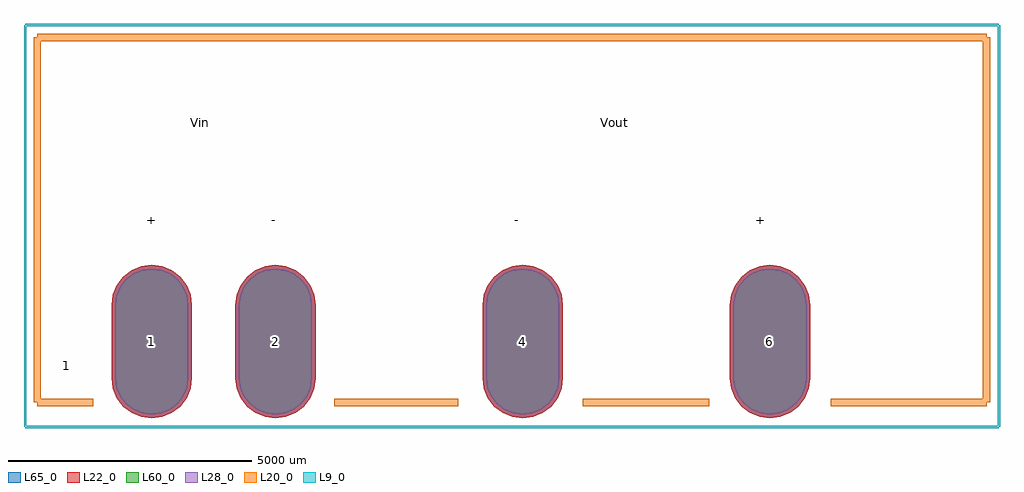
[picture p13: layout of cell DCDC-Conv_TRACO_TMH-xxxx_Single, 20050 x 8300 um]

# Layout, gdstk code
import gdstk
lib = gdstk.Library(unit=1e-6, precision=1e-09)
def P(c, l, *ps):  # polygons
    for p in ps: c.add(gdstk.Polygon(p, *l))
L9_0 = (9, 0)
L20_0 = (20, 0)
L22_0 = (22, 0)
L28_0 = (28, 0)
L60_0 = (60, 0)
L65_0 = (65, 0)

dcdc_conv_traco_tmh_xxxx = lib.new_cell('DCDC-Conv_TRACO_TMH-xxxx_Single')
P(dcdc_conv_traco_tmh_xxxx, L22_0, [(12700,-1574.87),(12913.673,-1546.739),(13112.785,-1464.265),(13283.766,-1333.066),(13414.965,-1162.085),(13497.439,-962.973),(13525.57,-749.3),(13525.57,749.3),(13497.439,962.973),(13414.965,1162.085),(13283.766,1333.066),(13112.785,1464.265),(12913.673,1546.739),(12700,1574.87),(12486.327,1546.739),(12287.215,1464.265),(12116.234,1333.066),(11985.035,1162.085),(11902.561,962.973),(11874.43,749.3),(11874.43,-749.3),(11902.561,-962.973),(11985.035,-1162.085),(12116.234,-1333.066),(12287.215,-1464.265),(12486.327,-1546.739)],
  [(7620,-1574.87),(7833.673,-1546.739),(8032.785,-1464.265),(8203.766,-1333.066),(8334.965,-1162.085),(8417.439,-962.973),(8445.57,-749.3),(8445.57,749.3),(8417.439,962.973),(8334.965,1162.085),(8203.766,1333.066),(8032.785,1464.265),(7833.673,1546.739),(7620,1574.87),(7406.327,1546.739),(7207.215,1464.265),(7036.234,1333.066),(6905.035,1162.085),(6822.561,962.973),(6794.43,749.3),(6794.43,-749.3),(6822.561,-962.973),(6905.035,-1162.085),(7036.234,-1333.066),(7207.215,-1464.265),(7406.327,-1546.739)],
  [(2540,-1574.87),(2753.673,-1546.739),(2952.785,-1464.265),(3123.766,-1333.066),(3254.965,-1162.085),(3337.439,-962.973),(3365.57,-749.3),(3365.57,749.3),(3337.439,962.973),(3254.965,1162.085),(3123.766,1333.066),(2952.785,1464.265),(2753.673,1546.739),(2540,1574.87),(2326.327,1546.739),(2127.215,1464.265),(1956.234,1333.066),(1825.035,1162.085),(1742.561,962.973),(1714.43,749.3),(1714.43,-749.3),(1742.561,-962.973),(1825.035,-1162.085),(1956.234,-1333.066),(2127.215,-1464.265),(2326.327,-1546.739)],
  [(0,-1574.87),(213.673,-1546.739),(412.785,-1464.265),(583.766,-1333.066),(714.965,-1162.085),(797.439,-962.973),(825.57,-749.3),(825.57,749.3),(797.439,962.973),(714.965,1162.085),(583.766,1333.066),(412.785,1464.265),(213.673,1546.739),(0,1574.87),(-213.673,1546.739),(-412.785,1464.265),(-583.766,1333.066),(-714.965,1162.085),(-797.439,962.973),(-825.57,749.3),(-825.57,-749.3),(-797.439,-962.973),(-714.965,-1162.085),(-583.766,-1333.066),(-412.785,-1464.265),(-213.673,-1546.739)])
P(dcdc_conv_traco_tmh_xxxx, L28_0, [(12700,-1499.87),(12894.262,-1474.295),(13075.285,-1399.313),(13230.733,-1280.033),(13350.013,-1124.585),(13424.995,-943.562),(13450.57,-749.3),(13450.57,749.3),(13424.995,943.562),(13350.013,1124.585),(13230.733,1280.033),(13075.285,1399.313),(12894.262,1474.295),(12700,1499.87),(12505.738,1474.295),(12324.715,1399.313),(12169.267,1280.033),(12049.987,1124.585),(11975.005,943.562),(11949.43,749.3),(11949.43,-749.3),(11975.005,-943.562),(12049.987,-1124.585),(12169.267,-1280.033),(12324.715,-1399.313),(12505.738,-1474.295)],
  [(7620,-1499.87),(7814.262,-1474.295),(7995.285,-1399.313),(8150.733,-1280.033),(8270.013,-1124.585),(8344.995,-943.562),(8370.57,-749.3),(8370.57,749.3),(8344.995,943.562),(8270.013,1124.585),(8150.733,1280.033),(7995.285,1399.313),(7814.262,1474.295),(7620,1499.87),(7425.738,1474.295),(7244.715,1399.313),(7089.267,1280.033),(6969.987,1124.585),(6895.005,943.562),(6869.43,749.3),(6869.43,-749.3),(6895.005,-943.562),(6969.987,-1124.585),(7089.267,-1280.033),(7244.715,-1399.313),(7425.738,-1474.295)],
  [(2540,-1499.87),(2734.262,-1474.295),(2915.285,-1399.313),(3070.733,-1280.033),(3190.013,-1124.585),(3264.995,-943.562),(3290.57,-749.3),(3290.57,749.3),(3264.995,943.562),(3190.013,1124.585),(3070.733,1280.033),(2915.285,1399.313),(2734.262,1474.295),(2540,1499.87),(2345.738,1474.295),(2164.715,1399.313),(2009.267,1280.033),(1889.987,1124.585),(1815.005,943.562),(1789.43,749.3),(1789.43,-749.3),(1815.005,-943.562),(1889.987,-1124.585),(2009.267,-1280.033),(2164.715,-1399.313),(2345.738,-1474.295)],
  [(0,-1499.87),(194.262,-1474.295),(375.285,-1399.313),(530.733,-1280.033),(650.013,-1124.585),(724.995,-943.562),(750.57,-749.3),(750.57,749.3),(724.995,943.562),(650.013,1124.585),(530.733,1280.033),(375.285,1399.313),(194.262,1474.295),(0,1499.87),(-194.262,1474.295),(-375.285,1399.313),(-530.733,1280.033),(-650.013,1124.585),(-724.995,943.562),(-750.57,749.3),(-750.57,-749.3),(-724.995,-943.562),(-650.013,-1124.585),(-530.733,-1280.033),(-375.285,-1399.313),(-194.262,-1474.295)])
P(dcdc_conv_traco_tmh_xxxx, L60_0, [(12700,-1499.87),(12894.262,-1474.295),(13075.285,-1399.313),(13230.733,-1280.033),(13350.013,-1124.585),(13424.995,-943.562),(13450.57,-749.3),(13450.57,749.3),(13424.995,943.562),(13350.013,1124.585),(13230.733,1280.033),(13075.285,1399.313),(12894.262,1474.295),(12700,1499.87),(12505.738,1474.295),(12324.715,1399.313),(12169.267,1280.033),(12049.987,1124.585),(11975.005,943.562),(11949.43,749.3),(11949.43,-749.3),(11975.005,-943.562),(12049.987,-1124.585),(12169.267,-1280.033),(12324.715,-1399.313),(12505.738,-1474.295)],
  [(7620,-1499.87),(7814.262,-1474.295),(7995.285,-1399.313),(8150.733,-1280.033),(8270.013,-1124.585),(8344.995,-943.562),(8370.57,-749.3),(8370.57,749.3),(8344.995,943.562),(8270.013,1124.585),(8150.733,1280.033),(7995.285,1399.313),(7814.262,1474.295),(7620,1499.87),(7425.738,1474.295),(7244.715,1399.313),(7089.267,1280.033),(6969.987,1124.585),(6895.005,943.562),(6869.43,749.3),(6869.43,-749.3),(6895.005,-943.562),(6969.987,-1124.585),(7089.267,-1280.033),(7244.715,-1399.313),(7425.738,-1474.295)],
  [(2540,-1499.87),(2734.262,-1474.295),(2915.285,-1399.313),(3070.733,-1280.033),(3190.013,-1124.585),(3264.995,-943.562),(3290.57,-749.3),(3290.57,749.3),(3264.995,943.562),(3190.013,1124.585),(3070.733,1280.033),(2915.285,1399.313),(2734.262,1474.295),(2540,1499.87),(2345.738,1474.295),(2164.715,1399.313),(2009.267,1280.033),(1889.987,1124.585),(1815.005,943.562),(1789.43,749.3),(1789.43,-749.3),(1815.005,-943.562),(1889.987,-1124.585),(2009.267,-1280.033),(2164.715,-1399.313),(2345.738,-1474.295)],
  [(0,-1499.87),(194.262,-1474.295),(375.285,-1399.313),(530.733,-1280.033),(650.013,-1124.585),(724.995,-943.562),(750.57,-749.3),(750.57,749.3),(724.995,943.562),(650.013,1124.585),(530.733,1280.033),(375.285,1399.313),(194.262,1474.295),(0,1499.87),(-194.262,1474.295),(-375.285,1399.313),(-530.733,1280.033),(-650.013,1124.585),(-724.995,943.562),(-750.57,749.3),(-750.57,-749.3),(-724.995,-943.562),(-650.013,-1124.585),(-530.733,-1280.033),(-375.285,-1399.313),(-194.262,-1474.295)])
P(dcdc_conv_traco_tmh_xxxx, L65_0, [(12700,-1574.87),(12913.673,-1546.739),(13112.785,-1464.265),(13283.766,-1333.066),(13414.965,-1162.085),(13497.439,-962.973),(13525.57,-749.3),(13525.57,749.3),(13497.439,962.973),(13414.965,1162.085),(13283.766,1333.066),(13112.785,1464.265),(12913.673,1546.739),(12700,1574.87),(12486.327,1546.739),(12287.215,1464.265),(12116.234,1333.066),(11985.035,1162.085),(11902.561,962.973),(11874.43,749.3),(11874.43,-749.3),(11902.561,-962.973),(11985.035,-1162.085),(12116.234,-1333.066),(12287.215,-1464.265),(12486.327,-1546.739)],
  [(7620,-1574.87),(7833.673,-1546.739),(8032.785,-1464.265),(8203.766,-1333.066),(8334.965,-1162.085),(8417.439,-962.973),(8445.57,-749.3),(8445.57,749.3),(8417.439,962.973),(8334.965,1162.085),(8203.766,1333.066),(8032.785,1464.265),(7833.673,1546.739),(7620,1574.87),(7406.327,1546.739),(7207.215,1464.265),(7036.234,1333.066),(6905.035,1162.085),(6822.561,962.973),(6794.43,749.3),(6794.43,-749.3),(6822.561,-962.973),(6905.035,-1162.085),(7036.234,-1333.066),(7207.215,-1464.265),(7406.327,-1546.739)],
  [(2540,-1574.87),(2753.673,-1546.739),(2952.785,-1464.265),(3123.766,-1333.066),(3254.965,-1162.085),(3337.439,-962.973),(3365.57,-749.3),(3365.57,749.3),(3337.439,962.973),(3254.965,1162.085),(3123.766,1333.066),(2952.785,1464.265),(2753.673,1546.739),(2540,1574.87),(2326.327,1546.739),(2127.215,1464.265),(1956.234,1333.066),(1825.035,1162.085),(1742.561,962.973),(1714.43,749.3),(1714.43,-749.3),(1742.561,-962.973),(1825.035,-1162.085),(1956.234,-1333.066),(2127.215,-1464.265),(2326.327,-1546.739)],
  [(0,-1574.87),(213.673,-1546.739),(412.785,-1464.265),(583.766,-1333.066),(714.965,-1162.085),(797.439,-962.973),(825.57,-749.3),(825.57,749.3),(797.439,962.973),(714.965,1162.085),(583.766,1333.066),(412.785,1464.265),(213.673,1546.739),(0,1574.87),(-213.673,1546.739),(-412.785,1464.265),(-583.766,1333.066),(-714.965,1162.085),(-797.439,962.973),(-825.57,749.3),(-825.57,-749.3),(-797.439,-962.973),(-714.965,-1162.085),(-583.766,-1333.066),(-412.785,-1464.265),(-213.673,-1546.739)])
dcdc_conv_traco_tmh_xxxx.add(gdstk.FlexPath([(-2352.04,6248.4),(-2352.04,-1249.68)], 149.998, ends="flush", simple_path=True, layer=20, datatype=0))  # L20_0
dcdc_conv_traco_tmh_xxxx.add(gdstk.FlexPath([(17150.1,6248.4),(-2352.04,6248.4)], 149.998, ends="flush", simple_path=True, layer=20, datatype=0))  # L20_0
dcdc_conv_traco_tmh_xxxx.add(gdstk.FlexPath([(17150.1,-1249.68),(17150.1,6248.4)], 149.998, ends="flush", simple_path=True, layer=20, datatype=0))  # L20_0
dcdc_conv_traco_tmh_xxxx.add(gdstk.FlexPath([(17150.1,-1249.68),(13949.7,-1249.68)], 149.998, ends="flush", simple_path=True, layer=20, datatype=0))  # L20_0
dcdc_conv_traco_tmh_xxxx.add(gdstk.FlexPath([(11447.8,-1249.68),(8849.36,-1249.68)], 149.998, ends="flush", simple_path=True, layer=20, datatype=0))  # L20_0
dcdc_conv_traco_tmh_xxxx.add(gdstk.FlexPath([(6299.2,-1249.68),(3749.04,-1249.68)], 149.998, ends="flush", simple_path=True, layer=20, datatype=0))  # L20_0
dcdc_conv_traco_tmh_xxxx.add(gdstk.FlexPath([(-1201.42,-1249.68),(-2352.04,-1249.68)], 149.998, ends="flush", simple_path=True, layer=20, datatype=0))  # L20_0
dcdc_conv_traco_tmh_xxxx.add(gdstk.FlexPath([(-2600,-1750),(17400,-1750)], 50, ends="flush", simple_path=True, layer=9, datatype=0))  # L9_0
dcdc_conv_traco_tmh_xxxx.add(gdstk.FlexPath([(-2600,6500),(17400,6500)], 50, ends="flush", simple_path=True, layer=9, datatype=0))  # L9_0
dcdc_conv_traco_tmh_xxxx.add(gdstk.FlexPath([(17400,6500),(17400,-1750)], 50, ends="flush", simple_path=True, layer=9, datatype=0))  # L9_0
dcdc_conv_traco_tmh_xxxx.add(gdstk.FlexPath([(-2600,6500),(-2600,-1750)], 50, ends="flush", simple_path=True, layer=9, datatype=0))  # L9_0
dcdc_conv_traco_tmh_xxxx.add(gdstk.Label('6', (12700,0), layer=28, texttype=0))
dcdc_conv_traco_tmh_xxxx.add(gdstk.Label('4', (7620,0), layer=28, texttype=0))
dcdc_conv_traco_tmh_xxxx.add(gdstk.Label('2', (2540,0), layer=28, texttype=0))
dcdc_conv_traco_tmh_xxxx.add(gdstk.Label('1', (0,0), layer=28, texttype=0))
dcdc_conv_traco_tmh_xxxx.add(gdstk.Label('+', (-0.62,2500), layer=9, texttype=0))
dcdc_conv_traco_tmh_xxxx.add(gdstk.Label('-', (2498.74,2500), layer=9, texttype=0))
dcdc_conv_traco_tmh_xxxx.add(gdstk.Label('Vin', (1000.14,4498.98), layer=9, texttype=0))
dcdc_conv_traco_tmh_xxxx.add(gdstk.Label('1', (-1750,-500), layer=9, texttype=0))
dcdc_conv_traco_tmh_xxxx.add(gdstk.Label('-', (7500,2500), layer=9, texttype=0))
dcdc_conv_traco_tmh_xxxx.add(gdstk.Label('+', (12501.26,2500), layer=9, texttype=0))
dcdc_conv_traco_tmh_xxxx.add(gdstk.Label('Vout', (9498.98,4498.98), layer=9, texttype=0))
dcdc_conv_traco_tmh_xxxx.add(gdstk.Label('type', (0,8050), layer=9, texttype=0))
dcdc_conv_traco_tmh_xxxx.add(gdstk.Label('devicename', (0,10050), layer=9, texttype=0))

lib.write_gds('DCDC-Conv_TRACO_TMH-xxxx_Single.gds')
